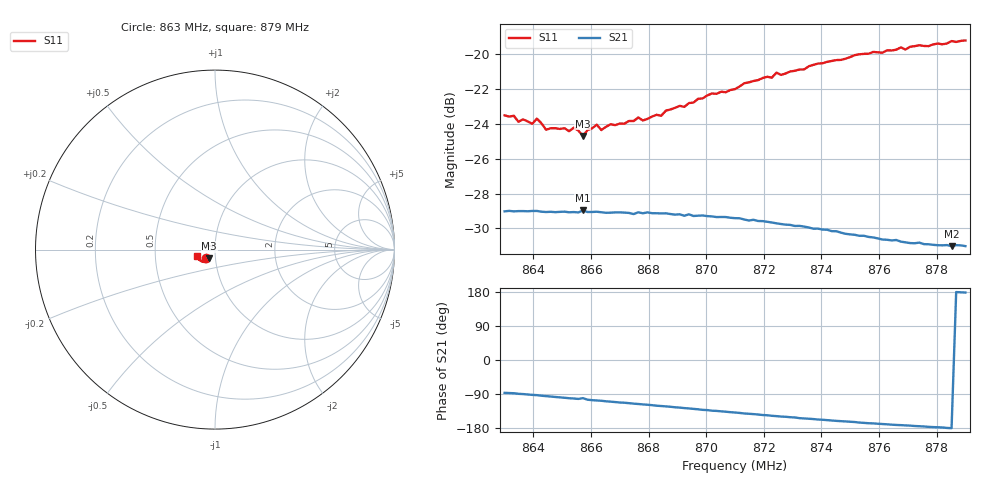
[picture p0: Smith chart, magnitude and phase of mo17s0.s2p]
# HZ S RI R 50
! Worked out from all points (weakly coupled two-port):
!   101 points, 863 MHz to 879 MHz, reference 50 ohm
!   highest |S21| = -28.97 dB at 865.72 MHz (marker M1); lowest = -31.0 dB at 878.52 MHz (marker M2)
!   lowest |S11| = -24.7 dB at 865.72 MHz (marker M3), VSWR 1.12, Z = 46.6 - j4.48 ohm
!   |S11| at or under -10 dB: start of sweep to end of sweep
!   S12 and S22 are empty: the file has one direction only
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8.63e8  -0.0485 -0.0459  0.00202 -0.0354  0 0  0 0
8.6396e8  -0.0431 -0.0462  -0.00126 -0.0355  0 0  0 0
8.6412e8  -0.046 -0.0464  -0.00171 -0.0355  0 0  0 0
8.6444e8  -0.0398 -0.0458  -0.00327 -0.0351  0 0  0 0
8.6524e8  -0.0374 -0.0471  -0.00664 -0.0346  0 0  0 0
8.654e8  -0.0377 -0.0487  -0.00709 -0.0345  0 0  0 0
8.6572e8  -0.0331 -0.0479  -0.00661 -0.035  0 0  0 0
8.662e8  -0.0365 -0.0511  -0.0102 -0.0338  0 0  0 0
8.6636e8  -0.0353 -0.0493  -0.0106 -0.0336  0 0  0 0
8.6764e8  -0.035 -0.0558  -0.0155 -0.0316  0 0  0 0
8.678e8  -0.0343 -0.0547  -0.016 -0.0311  0 0  0 0
8.6844e8  -0.0345 -0.057  -0.0182 -0.0298  0 0  0 0
8.686e8  -0.0353 -0.0592  -0.0187 -0.0295  0 0  0 0
8.702e8  -0.0411 -0.0653  -0.0237 -0.0247  0 0  0 0
8.71e8  -0.0444 -0.0658  -0.0254 -0.0224  0 0  0 0
8.7228e8  -0.052 -0.0681  -0.0277 -0.0178  0 0  0 0
8.7244e8  -0.0554 -0.0691  -0.0278 -0.0173  0 0  0 0
8.726e8  -0.0544 -0.0682  -0.028 -0.0167  0 0  0 0
8.7372e8  -0.0626 -0.0691  -0.0288 -0.0129  0 0  0 0
8.7644e8  -0.0844 -0.0582  -0.0288 -0.00474  0 0  0 0
8.7852e8  -0.0996 -0.0445  -0.0281 -6.8e-05  0 0  0 0
8.79e8  -0.1027 -0.0382  -0.0281 0.00097  0 0  0 0
